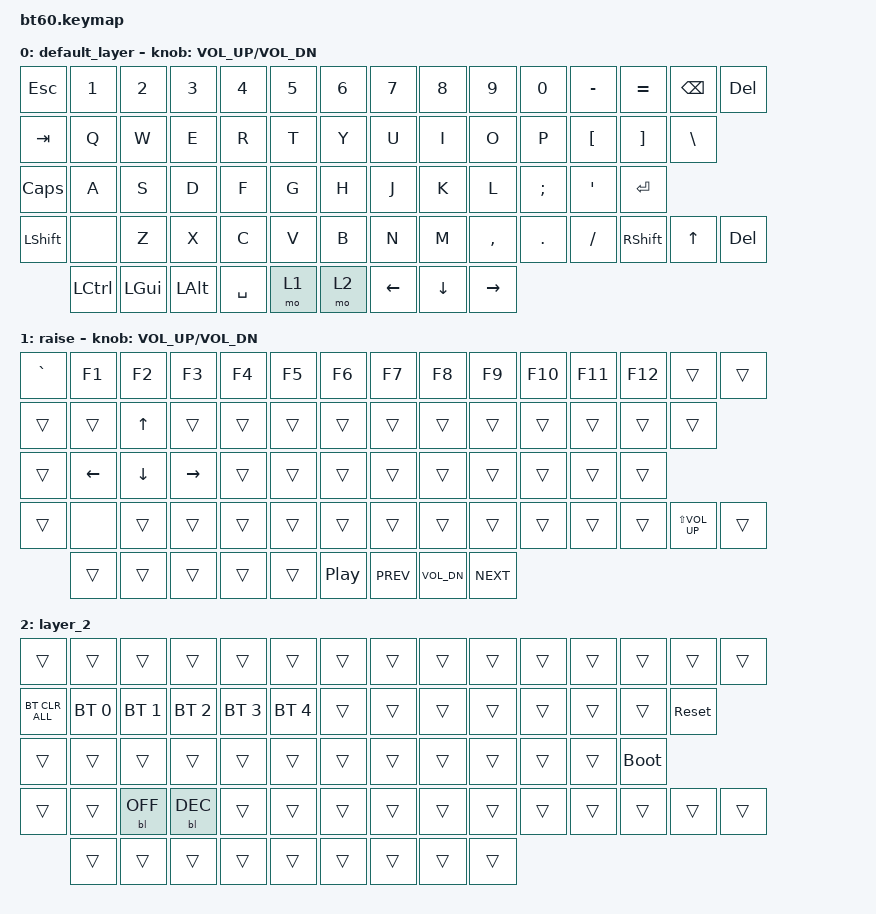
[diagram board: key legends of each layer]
#include <behaviors.dtsi>
#include <dt-bindings/zmk/backlight.h>
#include <dt-bindings/zmk/bt.h>
#include <dt-bindings/zmk/keys.h>

/ {
    keymap {
        compatible = "zmk,keymap";

        default_layer {
            // ------------------------------------------------------------------------------------------
            // | ESC |  1  |  2  |  3  |  4  |  5  |  6  |  7  |  8  |  9  |  0  |  -  |  =  |BKSP | DEL |
            // | TAB  |  Q  |  W  |  E  |  R  |  T  |  Y  |  U  |  I  |  O  |  P  |  [  |  ]  |  |   |
            // | CAPS  |  A  |  S  |  D  |  F  |  G  |  H  |  J  |  K  |  L  |  ;  |  '  |     ENTER    |
            // |  SHIFT|NONE|  Z  |  X  |  C  |  V  |  B  |  N  |  M  |  ,  |  .  | /   | SHFT | UP | 1  |
            // |  CTL  |  WIN  |  ALT  |            SPACE              | ALT | CTRL | LEFT | DOWN | RIGHT |
            // ------------------------------------------------------------------------------------------

            bindings = <
&kp ESC    &kp N1     &kp N2    &kp N3    &kp N4     &kp N5  &kp N6  &kp N7    &kp N8    &kp N9     &kp N0    &kp MINUS  &kp EQUAL  &kp BSPC  &kp DEL
&kp TAB    &kp Q      &kp W     &kp E     &kp R      &kp T   &kp Y   &kp U     &kp I     &kp O      &kp P     &kp LBKT   &kp RBKT   &kp BSLH
&kp CLCK   &kp A      &kp S     &kp D     &kp F      &kp G   &kp H   &kp J     &kp K     &kp L      &kp SEMI  &kp SQT    &kp RET
&kp LSHFT  &none      &kp Z     &kp X     &kp C      &kp V   &kp B   &kp N     &kp M     &kp COMMA  &kp DOT   &kp FSLH   &kp RSHFT  &kp UP    &kp DEL
           &kp LCTRL  &kp LGUI  &kp LALT  &kp SPACE  &mo 1   &mo 2   &kp LEFT  &kp DOWN  &kp RIGHT
            >;

            sensor-bindings = <&inc_dec_kp C_VOL_UP C_VOL_DN>;
        };

        raise {
            bindings = <
&kp GRAVE  &kp F1    &kp F2    &kp F3     &kp F4  &kp F5  &kp F6    &kp F7      &kp F8        &kp F9      &kp F10  &kp F11  &kp F12  &trans            &trans
&trans     &trans    &kp UP    &trans     &trans  &trans  &trans    &trans      &trans        &trans      &trans   &trans   &trans   &trans
&trans     &kp LEFT  &kp DOWN  &kp RIGHT  &trans  &trans  &trans    &trans      &trans        &trans      &trans   &trans   &trans
&trans     &none     &trans    &trans     &trans  &trans  &trans    &trans      &trans        &trans      &trans   &trans   &trans   &kp LS(C_VOL_UP)  &trans
           &trans    &trans    &trans     &trans  &trans  &kp C_PP  &kp C_PREV  &kp C_VOL_DN  &kp C_NEXT
            >;

            sensor-bindings = <&inc_dec_kp C_VOL_UP C_VOL_DN>;
        };

        layer_2 {
            bindings = <
&trans          &trans        &trans        &trans        &trans        &trans        &trans  &trans  &trans  &trans  &trans  &trans  &trans       &trans      &trans
&bt BT_CLR_ALL  &bt BT_SEL 0  &bt BT_SEL 1  &bt BT_SEL 2  &bt BT_SEL 3  &bt BT_SEL 4  &trans  &trans  &trans  &trans  &trans  &trans  &trans       &sys_reset
&trans          &trans        &trans        &trans        &trans        &trans        &trans  &trans  &trans  &trans  &trans  &trans  &bootloader
&trans          &trans        &bl BL_OFF    &bl BL_DEC    &trans        &trans        &trans  &trans  &trans  &trans  &trans  &trans  &trans       &trans      &trans
                &trans        &trans        &trans        &trans        &trans        &trans  &trans  &trans  &trans
            >;
        };
    };
};
